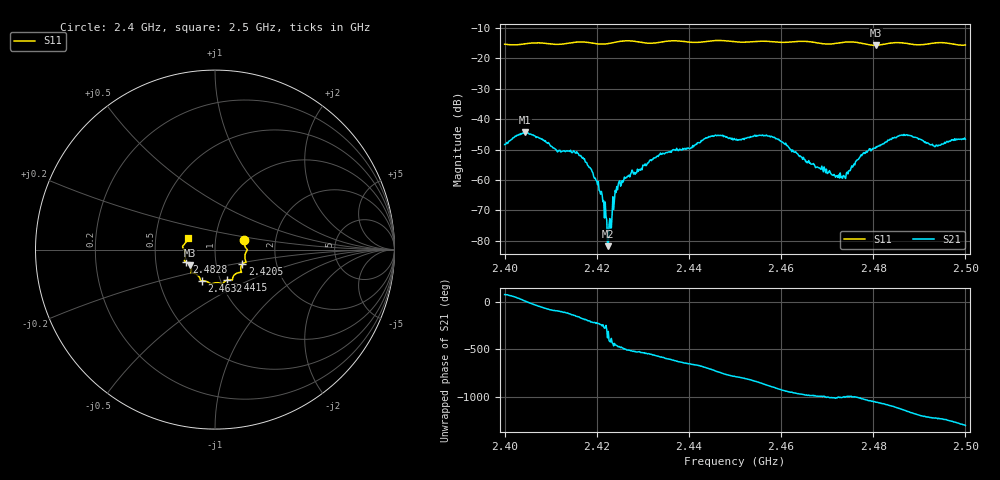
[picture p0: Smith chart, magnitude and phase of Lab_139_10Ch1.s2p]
# Hz S RI R 50
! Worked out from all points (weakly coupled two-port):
!   601 points, 2.4 GHz to 2.5 GHz, reference 50 ohm
!   highest |S21| = -44.35 dB at 2.4043 GHz (marker M1); lowest = -81.8 dB at 2.4225 GHz (marker M2)
!   lowest |S11| = -15.7 dB at 2.4805 GHz (marker M3), VSWR 1.39, Z = 37.3 - j6.68 ohm
!   |S11| at or under -10 dB: start of sweep to end of sweep
!   S12 and S22 are empty: the file has one direction only
!   S11 on the Smith chart (normalised r, x): 2.4 GHz: 1.38, +0.15; 2.4205 GHz: 1.34, -0.22; 2.4415 GHz: 1.07, -0.38; 2.4632 GHz: 0.82, -0.29; 2.4828 GHz: 0.72, -0.10; 2.5 GHz: 0.73, +0.10
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2.4e9  0.1632 0.0516  0.000595 0.00379  0 0  0 0
2.404333e9  0.1728 0.00806  0.00586 0.00154  0 0  0 0
2.416667e9  0.1729 -0.0696  -0.00239 -0.00038  0 0  0 0
2.4205e9  0.152 -0.0815  -0.000462 0.000495  0 0  0 0
2.4225e9  0.1436 -0.1  5.1e-05 6.38e-05  0 0  0 0
2.422833e9  0.1431 -0.1036  0.000127 -0.000195  0 0  0 0
2.4245e9  0.1452 -0.1187  -0.000189 -0.000663  0 0  0 0
2.433333e9  0.1006 -0.1515  -0.00207 0.00128  0 0  0 0
2.4415e9  0.0654 -0.1707  0.00221 0.00317  0 0  0 0
2.445333e9  0.0427 -0.1907  0.00522 7.29e-05  0 0  0 0
2.45e9  0.0242 -0.186  0.00181 -0.00427  0 0  0 0
2.457333e9  -0.0273 -0.1879  -0.00507 -0.00146  0 0  0 0
2.463167e9  -0.0732 -0.174  -0.00133 0.00261  0 0  0 0
2.466667e9  -0.0817 -0.1671  -6.67e-05 0.00182  0 0  0 0
2.4735e9  -0.1296 -0.1304  0.000246 0.00116  0 0  0 0
2.4775e9  -0.1309 -0.1189  0.00139 0.00209  0 0  0 0
2.4805e9  -0.139 -0.0872  0.0031 0.00123  0 0  0 0
2.482833e9  -0.1588 -0.0702  0.00427 -0.000387  0 0  0 0
2.483333e9  -0.1626 -0.0682  0.00439 -0.000917  0 0  0 0
2.487667e9  -0.1671 -0.05  0.00104 -0.00535  0 0  0 0
2.4935e9  -0.1795 0.0124  -0.00295 -0.00198  0 0  0 0
2.5e9  -0.1526 0.0647  -0.00328 0.00333  0 0  0 0
